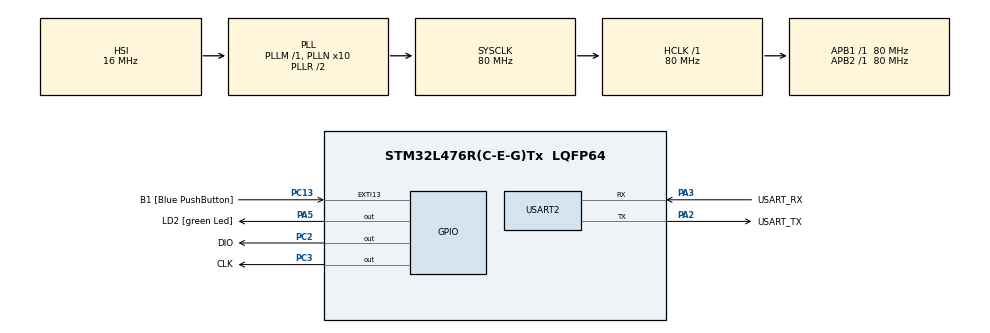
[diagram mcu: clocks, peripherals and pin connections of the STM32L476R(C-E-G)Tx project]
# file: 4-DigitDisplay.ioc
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Mcu.Family=STM32L4
Mcu.Name=STM32L476R(C-E-G)Tx
Mcu.Package=LQFP64
NVIC.PriorityGroup=NVIC_PRIORITYGROUP_4
NVIC.USART2_IRQn=true\:0\:0\:false\:false\:true\:true\:true
PA13\ (JTMS-SWDIO).GPIO_Label=TMS
PA13\ (JTMS-SWDIO).Mode=Serial_Wire
PA13\ (JTMS-SWDIO).Signal=SYS_JTMS-SWDIO
PA14\ (JTCK-SWCLK).GPIO_Label=TCK
PA14\ (JTCK-SWCLK).Mode=Serial_Wire
PA14\ (JTCK-SWCLK).Signal=SYS_JTCK-SWCLK
PA2.GPIO_Label=USART_TX
PA2.GPIO_Mode=GPIO_MODE_AF_PP
PA2.GPIO_PuPd=GPIO_NOPULL
PA2.GPIO_Speed=GPIO_SPEED_FREQ_VERY_HIGH
PA2.Mode=Asynchronous
PA2.Signal=USART2_TX
PA3.GPIO_Label=USART_RX
PA3.GPIO_Mode=GPIO_MODE_AF_PP
PA3.GPIO_PuPd=GPIO_NOPULL
PA3.GPIO_Speed=GPIO_SPEED_FREQ_VERY_HIGH
PA3.Mode=Asynchronous
PA3.Signal=USART2_RX
PA5.GPIO_Label=LD2 [green Led]
PA5.GPIO_ModeDefaultOutputPP=GPIO_MODE_OUTPUT_PP
PA5.GPIO_PuPd=GPIO_NOPULL
PA5.GPIO_Speed=GPIO_SPEED_FREQ_LOW
PA5.Signal=GPIO_Output
PB3\ (JTDO-TRACESWO).GPIO_Label=SWO
PB3\ (JTDO-TRACESWO).Signal=SYS_JTDO-SWO
PC13.GPIO_Label=B1 [Blue PushButton]
PC13.GPIO_ModeDefaultEXTI=GPIO_MODE_IT_FALLING
PC13.GPIO_PuPd=GPIO_NOPULL
PC13.Signal=GPXTI13
PC14-OSC32_IN\ (PC14).Mode=LSE-External-Oscillator
PC14-OSC32_IN\ (PC14).Signal=RCC_OSC32_IN
PC15-OSC32_OUT\ (PC15).Mode=LSE-External-Oscillator
PC15-OSC32_OUT\ (PC15).Signal=RCC_OSC32_OUT
PC2.GPIO_Label=DIO
PC2.Signal=GPIO_Output
PC3.GPIO_Label=CLK
PC3.Signal=GPIO_Output
PH0-OSC_IN\ (PH0).Signal=RCC_OSC_IN
PH1-OSC_OUT\ (PH1).Signal=RCC_OSC_OUT
ProjectManager.HeapSize=0x200
ProjectManager.StackSize=0x400
ProjectManager.TargetToolchain=MDK-ARM V5.32
RCC.ADCFreq_Value=64000000
RCC.AHBFreq_Value=80000000
RCC.APB1Freq_Value=80000000
RCC.APB1TimFreq_Value=80000000
RCC.APB2Freq_Value=80000000
RCC.APB2TimFreq_Value=80000000
RCC.CortexFreq_Value=80000000
RCC.HCLKFreq_Value=80000000
RCC.HSE_VALUE=8000000
RCC.HSI_VALUE=16000000
RCC.MSI_VALUE=4000000
RCC.PLLN=10
RCC.PLLSourceVirtual=RCC_PLLSOURCE_HSI
RCC.PREFETCH_ENABLE=1
RCC.SYSCLKFreq_VALUE=80000000
RCC.SYSCLKSource=RCC_SYSCLKSOURCE_PLLCLK
RCC.USBFreq_Value=64000000
RCC.VCOOutputFreq_Value=160000000
USART2.VirtualMode-Asynchronous=VM_ASYNC
board=NUCLEO-L476RG

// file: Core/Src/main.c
/* USER CODE BEGIN Header */
/**
  ******************************************************************************
  * @file           : main.c
  * @brief          : Main program body
  ******************************************************************************
  * @attention
  *
  * <h2><center>&copy; Copyright (c) 2021 STMicroelectronics.
  * All rights reserved.</center></h2>
  *
  * This software component is licensed by ST under BSD 3-Clause license,
  * the "License"; You may not use this file except in compliance with the
  * License. You may obtain a copy of the License at:
  *                        opensource.org/licenses/BSD-3-Clause
  *
  ******************************************************************************
  */
/* USER CODE END Header */
#include "main.h"

/* USER CODE BEGIN Includes */
#include "TM1637.h"
/* USER CODE END Includes */

UART_HandleTypeDef huart2;

void SystemClock_Config(void);
static void MX_GPIO_Init(void);
static void MX_USART2_UART_Init(void);

int main(void)
{

  /* MCU Configuration--------------------------------------------------------*/

  /* Reset of all peripherals, Initializes the Flash interface and the Systick. */
  HAL_Init();

  /* Configure the system clock */
  SystemClock_Config();

  /* Initialize all configured peripherals */
  MX_GPIO_Init();
  MX_USART2_UART_Init();
  /* USER CODE BEGIN 2 */
  uint8_t flag_s = 0;
  int i = 0;
  /* USER CODE END 2 */

  /* Infinite loop */
  while (1)
  {

    /* USER CODE BEGIN 3 */

    HAL_GPIO_WritePin(GPIOA, LD2_Pin, GPIO_PIN_RESET);
    HAL_Delay( 1000 );
    HAL_GPIO_WritePin(GPIOA, LD2_Pin, GPIO_PIN_SET);

	//if( flag_s )
	//	disp_num[1] = tab[1] | 0x80;				//最高位设置为1 显示":"
    //else
    //    disp_num[1] = tab[5];
    //flag_s = ~flag_s;
    disp_num[0] = tab[i];
	disp_num[1] = tab[((i+1>9)?(i+1-10):i+1)];
    disp_num[2] = tab[((i+2>9)?(i+2-10):i+2)];
    disp_num[3] = tab[((i+3>9)?(i+3-10):i+3)];
	if(i>=9)
		i=0;
	else
		i=i+1;
    TM1637_Display_INC();
    TM1637_SetBrightness( 0 );					//设置亮度等级 0---7

  }
  /* USER CODE END 3 */
}

void SystemClock_Config(void)
{
  RCC_OscInitTypeDef RCC_OscInitStruct = {0};
  RCC_ClkInitTypeDef RCC_ClkInitStruct = {0};

  /** Configure the main internal regulator output voltage
  */
  if (HAL_PWREx_ControlVoltageScaling(PWR_REGULATOR_VOLTAGE_SCALE1) != HAL_OK)
  {
    Error_Handler();
  }
  /** Initializes the RCC Oscillators according to the specified parameters
  * in the RCC_OscInitTypeDef structure.
  */
  RCC_OscInitStruct.OscillatorType = RCC_OSCILLATORTYPE_HSI;
  RCC_OscInitStruct.HSIState = RCC_HSI_ON;
  RCC_OscInitStruct.HSICalibrationValue = RCC_HSICALIBRATION_DEFAULT;
  RCC_OscInitStruct.PLL.PLLState = RCC_PLL_ON;
  RCC_OscInitStruct.PLL.PLLSource = RCC_PLLSOURCE_HSI;
  RCC_OscInitStruct.PLL.PLLM = 1;
  RCC_OscInitStruct.PLL.PLLN = 10;
  RCC_OscInitStruct.PLL.PLLP = RCC_PLLP_DIV7;
  RCC_OscInitStruct.PLL.PLLQ = RCC_PLLQ_DIV2;
  RCC_OscInitStruct.PLL.PLLR = RCC_PLLR_DIV2;
  if (HAL_RCC_OscConfig(&RCC_OscInitStruct) != HAL_OK)
  {
    Error_Handler();
  }
  /** Initializes the CPU, AHB and APB buses clocks
  */
  RCC_ClkInitStruct.ClockType = RCC_CLOCKTYPE_HCLK|RCC_CLOCKTYPE_SYSCLK
                              |RCC_CLOCKTYPE_PCLK1|RCC_CLOCKTYPE_PCLK2;
  RCC_ClkInitStruct.SYSCLKSource = RCC_SYSCLKSOURCE_PLLCLK;
  RCC_ClkInitStruct.AHBCLKDivider = RCC_SYSCLK_DIV1;
  RCC_ClkInitStruct.APB1CLKDivider = RCC_HCLK_DIV1;
  RCC_ClkInitStruct.APB2CLKDivider = RCC_HCLK_DIV1;

  if (HAL_RCC_ClockConfig(&RCC_ClkInitStruct, FLASH_LATENCY_4) != HAL_OK)
  {
    Error_Handler();
  }
}

static void MX_USART2_UART_Init(void)
{

  huart2.Instance = USART2;
  huart2.Init.BaudRate = 115200;
  huart2.Init.WordLength = UART_WORDLENGTH_8B;
  huart2.Init.StopBits = UART_STOPBITS_1;
  huart2.Init.Parity = UART_PARITY_NONE;
  huart2.Init.Mode = UART_MODE_TX_RX;
  huart2.Init.HwFlowCtl = UART_HWCONTROL_NONE;
  huart2.Init.OverSampling = UART_OVERSAMPLING_16;
  huart2.Init.OneBitSampling = UART_ONE_BIT_SAMPLE_DISABLE;
  huart2.AdvancedInit.AdvFeatureInit = UART_ADVFEATURE_NO_INIT;
  if (HAL_UART_Init(&huart2) != HAL_OK)
  {
    Error_Handler();
  }

}

static void MX_GPIO_Init(void)
{
  GPIO_InitTypeDef GPIO_InitStruct = {0};

  /* GPIO Ports Clock Enable */
  __HAL_RCC_GPIOC_CLK_ENABLE();
  __HAL_RCC_GPIOH_CLK_ENABLE();
  __HAL_RCC_GPIOA_CLK_ENABLE();
  __HAL_RCC_GPIOB_CLK_ENABLE();

  /*Configure GPIO pin Output Level */
  HAL_GPIO_WritePin(GPIOC, DIO_Pin|CLK_Pin, GPIO_PIN_RESET);

  /*Configure GPIO pin Output Level */
  HAL_GPIO_WritePin(LD2_GPIO_Port, LD2_Pin, GPIO_PIN_RESET);

  /*Configure GPIO pin : B1_Pin */
  GPIO_InitStruct.Pin = B1_Pin;
  GPIO_InitStruct.Mode = GPIO_MODE_IT_FALLING;
  GPIO_InitStruct.Pull = GPIO_NOPULL;
  HAL_GPIO_Init(B1_GPIO_Port, &GPIO_InitStruct);

  /*Configure GPIO pins : DIO_Pin CLK_Pin */
  GPIO_InitStruct.Pin = DIO_Pin|CLK_Pin;
  GPIO_InitStruct.Mode = GPIO_MODE_OUTPUT_PP;
  GPIO_InitStruct.Pull = GPIO_NOPULL;
  GPIO_InitStruct.Speed = GPIO_SPEED_FREQ_LOW;
  HAL_GPIO_Init(GPIOC, &GPIO_InitStruct);

  /*Configure GPIO pin : LD2_Pin */
  GPIO_InitStruct.Pin = LD2_Pin;
  GPIO_InitStruct.Mode = GPIO_MODE_OUTPUT_PP;
  GPIO_InitStruct.Pull = GPIO_NOPULL;
  GPIO_InitStruct.Speed = GPIO_SPEED_FREQ_LOW;
  HAL_GPIO_Init(LD2_GPIO_Port, &GPIO_InitStruct);

}

void Error_Handler(void)
{
  __disable_irq();
  while (1)
  {
  }
}

/************************ (C) COPYRIGHT STMicroelectronics *****END OF FILE****/
